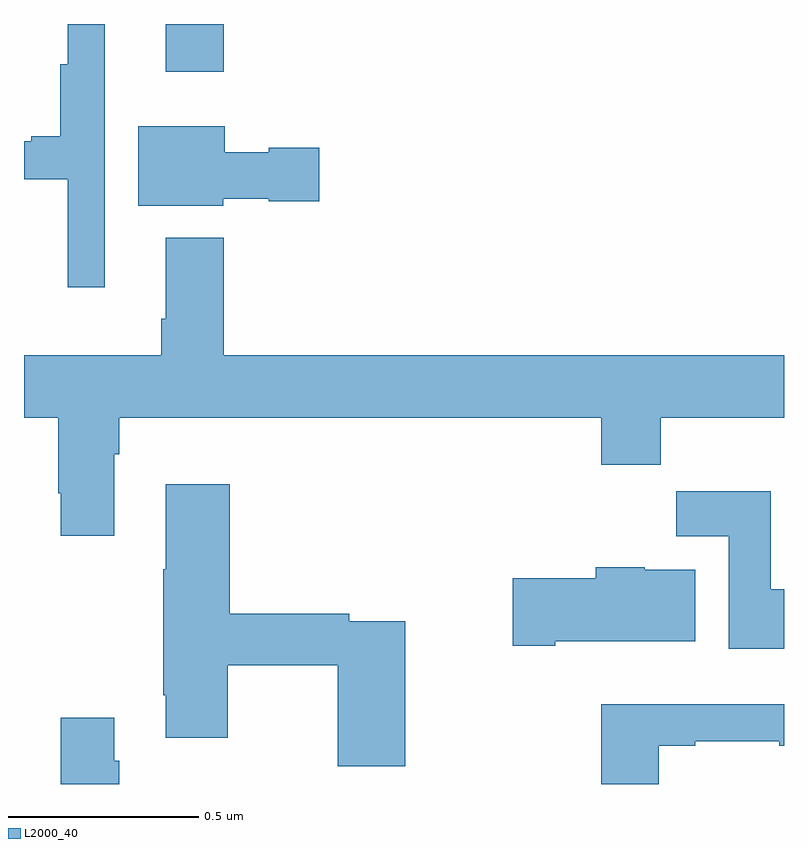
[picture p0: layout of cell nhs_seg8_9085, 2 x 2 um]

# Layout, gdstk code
import gdstk
lib = gdstk.Library(unit=1e-6, precision=1e-09)
def R(c, l, rs):  # rectangles x0, y0, x1, y1
    for r in rs: c.add(gdstk.rectangle(r[:2], r[2:], *l))
def P(c, l, *ps):  # polygons
    for p in ps: c.add(gdstk.Polygon(p, *l))
L2000_40 = (2000, 40)

nhs_seg8_9085 = lib.new_cell('nhs_seg8_9085')
R(nhs_seg8_9085, L2000_40, [(232.373,1086.774,232.526,1086.9)])
P(nhs_seg8_9085, L2000_40, [(232.212,1086.685),(232.213,1086.685),(232.213,1086.9),(232.115,1086.9),(232.115,1086.794),(232.096,1086.794),(232.096,1086.604),(232.019,1086.604),(232.019,1086.591),(232,1086.591),(232,1086.491),(232.115,1086.491),(232.115,1086.207),(232.212,1086.207)],
  [(232.524,1086.44),(232.644,1086.44),(232.644,1086.433),(232.777,1086.433),(232.777,1086.575),(232.644,1086.575),(232.644,1086.562),(232.528,1086.562),(232.528,1086.631),(232.301,1086.631),(232.301,1086.422),(232.524,1086.422)],
  [(232.237,1085.768),(232.25,1085.768),(232.25,1085.864),(233.519,1085.864),(233.519,1085.74),(233.675,1085.74),(233.675,1085.864),(234,1085.864),(234,1086.028),(232.526,1086.028),(232.526,1086.337),(232.373,1086.337),(232.373,1086.124),(232.361,1086.124),(232.361,1086.028),(232,1086.028),(232,1085.864),(232.09,1085.864),(232.09,1085.665),(232.097,1085.665),(232.097,1085.553),(232.237,1085.553)],
  [(233.003,1085.328),(232.856,1085.328),(232.856,1085.348),(232.541,1085.348),(232.541,1085.689),(232.373,1085.689),(232.373,1085.465),(232.366,1085.465),(232.366,1085.134),(232.373,1085.134),(232.373,1085.022),(232.536,1085.022),(232.536,1085.212),(232.825,1085.212),(232.825,1084.947),(233.003,1084.947)],
  [(234,1085.412),(233.965,1085.412),(233.965,1085.671),(233.716,1085.671),(233.716,1085.552),(233.855,1085.552),(233.855,1085.256),(234,1085.256)],
  [(233.398,1085.276),(233.767,1085.276),(233.767,1085.464),(233.634,1085.464),(233.634,1085.47),(233.504,1085.47),(233.504,1085.442),(233.286,1085.442),(233.286,1085.264),(233.398,1085.264)],
  [(233.671,1085.001),(233.767,1085.001),(233.767,1085.013),(233.987,1085.013),(233.987,1085.001),(234,1085.001),(234,1085.11),(233.519,1085.11),(233.519,1084.9),(233.671,1084.9)],
  [(232.25,1084.961),(232.237,1084.961),(232.237,1085.074),(232.097,1085.074),(232.097,1084.9),(232.25,1084.9)])

lib.write_gds('nhs_seg8_9085.gds')
